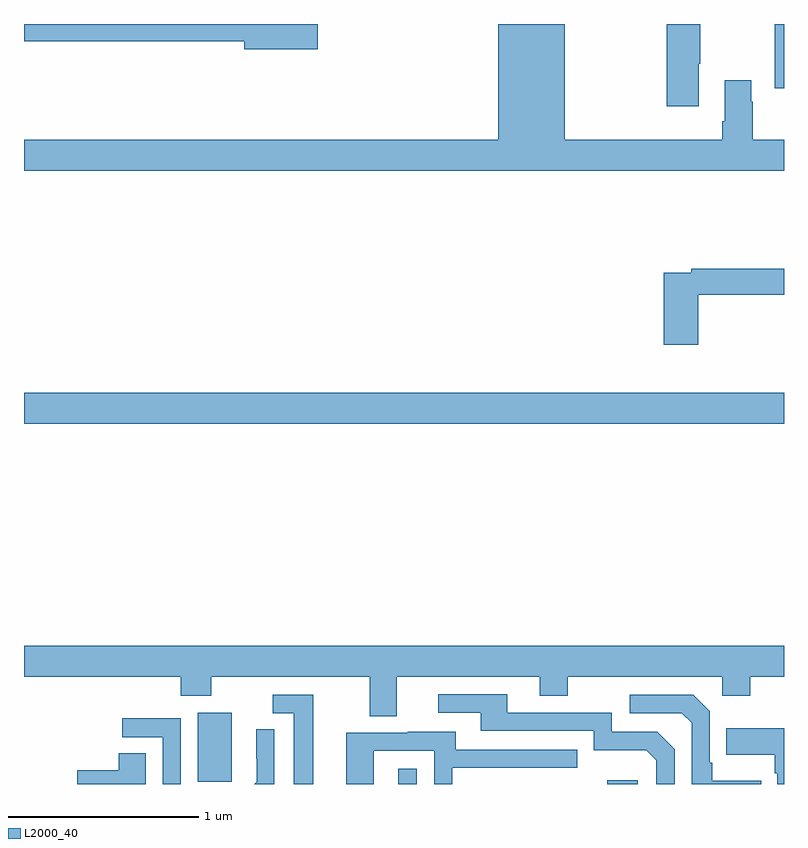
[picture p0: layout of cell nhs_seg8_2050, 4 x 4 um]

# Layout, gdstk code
import gdstk
lib = gdstk.Library(unit=1e-6, precision=1e-09)
def R(c, l, rs):  # rectangles x0, y0, x1, y1
    for r in rs: c.add(gdstk.rectangle(r[:2], r[2:], *l))
def P(c, l, *ps):  # polygons
    for p in ps: c.add(gdstk.Polygon(p, *l))
L2000_40 = (2000, 40)

nhs_seg8_2050 = lib.new_cell('nhs_seg8_2050')
R(nhs_seg8_2050, L2000_40, [(240.971,1151.9,241.068,1151.98), (242.069,1151.9,242.23,1151.92), (239.915,1151.913,240.094,1152.274), (239,1153.796,243,1153.96), (242.952,1155.563,243,1155.9)])
P(nhs_seg8_2050, L2000_40, [(240.547,1155.9),(239,1155.9),(239,1155.808),(240.158,1155.808),(240.158,1155.766),(240.547,1155.766)],
  [(242.551,1155.691),(242.559,1155.691),(242.559,1155.9),(242.384,1155.9),(242.384,1155.468),(242.551,1155.468)],
  [(243,1155.292),(242.835,1155.292),(242.835,1155.491),(242.827,1155.491),(242.827,1155.604),(242.687,1155.604),(242.687,1155.388),(242.675,1155.388),(242.675,1155.292),(241.846,1155.292),(241.846,1155.898),(241.496,1155.898),(241.496,1155.292),(239,1155.292),(239,1155.128),(243,1155.128)],
  [(242.549,1154.476),(243,1154.476),(243,1154.612),(242.512,1154.612),(242.512,1154.592),(242.366,1154.592),(242.366,1154.211),(242.549,1154.211)],
  [(240.961,1152.464),(241.715,1152.464),(241.715,1152.365),(241.863,1152.365),(241.863,1152.464),(242.676,1152.464),(242.676,1152.365),(242.823,1152.365),(242.823,1152.464),(243,1152.464),(243,1152.628),(239,1152.628),(239,1152.464),(239.825,1152.464),(239.825,1152.365),(239.985,1152.365),(239.985,1152.464),(240.821,1152.464),(240.821,1152.256),(240.961,1152.256)],
  [(242.424,1152.084),(242.334,1152.174),(242.094,1152.174),(242.094,1152.276),(241.543,1152.276),(241.543,1152.372),(241.179,1152.372),(241.179,1152.276),(241.403,1152.276),(241.403,1152.18),(241.998,1152.18),(241.998,1152.077),(242.275,1152.077),(242.328,1152.024),(242.328,1151.9),(242.424,1151.9)],
  [(242.879,1151.917),(242.623,1151.917),(242.623,1152.013),(242.61,1152.013),(242.61,1152.282),(242.523,1152.369),(242.187,1152.369),(242.187,1152.273),(242.463,1152.273),(242.514,1152.222),(242.514,1151.9),(242.879,1151.9)],
  [(240.523,1152.369),(240.309,1152.369),(240.309,1152.273),(240.419,1152.273),(240.419,1151.9),(240.523,1151.9)],
  [(239.826,1152.246),(239.517,1152.246),(239.517,1152.147),(239.73,1152.147),(239.73,1151.9),(239.826,1151.9)],
  [(243,1152.193),(242.695,1152.193),(242.695,1152.053),(242.952,1152.053),(242.952,1151.957),(242.964,1151.957),(242.964,1151.9),(243,1151.9)],
  [(240.318,1152.188),(240.222,1152.188),(240.222,1152.034),(240.224,1152.034),(240.224,1151.912),(240.212,1151.9),(240.318,1151.9)],
  [(240.84,1152.075),(241.158,1152.075),(241.158,1151.9),(241.254,1151.9),(241.254,1151.985),(241.913,1151.985),(241.913,1152.081),(241.273,1152.081),(241.273,1152.175),(241.019,1152.175),(241.019,1152.171),(240.695,1152.171),(240.695,1151.9),(240.84,1151.9)],
  [(239.641,1152.062),(239.498,1152.062),(239.498,1151.972),(239.28,1151.972),(239.28,1151.9),(239.641,1151.9)])

lib.write_gds('nhs_seg8_2050.gds')
